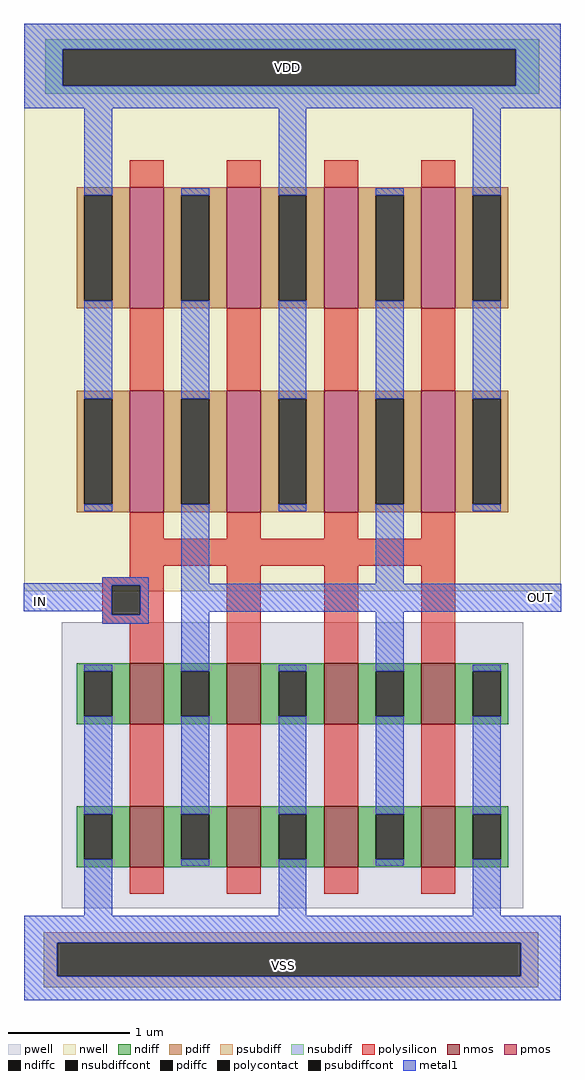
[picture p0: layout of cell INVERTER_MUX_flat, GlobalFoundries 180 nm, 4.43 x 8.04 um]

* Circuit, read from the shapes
.subckt INVERTER_MUX_flat VDD VSS IN OUT
XM1 OUT IN VSS VSS nfet_03v3 w=0.5u l=0.28u m=8
XM2 OUT IN VDD VDD pfet_03v3 w=1u l=0.28u m=8
.ends

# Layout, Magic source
magic
tech gf180mcuC
magscale 1 10
<< nwell >>
rect 0 0 884 935
<< pwell >>
rect 62 -523 822 -51
<< nmos >>
rect 174 -219 230 -119
rect 334 -219 390 -119
rect 494 -219 550 -119
rect 654 -219 710 -119
rect 174 -455 230 -355
rect 334 -455 390 -355
rect 494 -455 550 -355
rect 654 -455 710 -355
<< pmos >>
rect 174 466 230 666
rect 334 466 390 666
rect 494 466 550 666
rect 654 466 710 666
rect 174 130 230 330
rect 334 130 390 330
rect 494 130 550 330
rect 654 130 710 330
<< ndiff >>
rect 86 -132 174 -119
rect 86 -206 99 -132
rect 145 -206 174 -132
rect 86 -219 174 -206
rect 230 -132 334 -119
rect 230 -206 259 -132
rect 305 -206 334 -132
rect 230 -219 334 -206
rect 390 -132 494 -119
rect 390 -206 419 -132
rect 465 -206 494 -132
rect 390 -219 494 -206
rect 550 -132 654 -119
rect 550 -206 579 -132
rect 625 -206 654 -132
rect 550 -219 654 -206
rect 710 -132 798 -119
rect 710 -206 739 -132
rect 785 -206 798 -132
rect 710 -219 798 -206
rect 86 -368 174 -355
rect 86 -442 99 -368
rect 145 -442 174 -368
rect 86 -455 174 -442
rect 230 -368 334 -355
rect 230 -442 259 -368
rect 305 -442 334 -368
rect 230 -455 334 -442
rect 390 -368 494 -355
rect 390 -442 419 -368
rect 465 -442 494 -368
rect 390 -455 494 -442
rect 550 -368 654 -355
rect 550 -442 579 -368
rect 625 -442 654 -368
rect 550 -455 654 -442
rect 710 -368 798 -355
rect 710 -442 739 -368
rect 785 -442 798 -368
rect 710 -455 798 -442
<< pdiff >>
rect 86 653 174 666
rect 86 479 99 653
rect 145 479 174 653
rect 86 466 174 479
rect 230 653 334 666
rect 230 479 259 653
rect 305 479 334 653
rect 230 466 334 479
rect 390 653 494 666
rect 390 479 419 653
rect 465 479 494 653
rect 390 466 494 479
rect 550 653 654 666
rect 550 479 579 653
rect 625 479 654 653
rect 550 466 654 479
rect 710 653 798 666
rect 710 479 739 653
rect 785 479 798 653
rect 710 466 798 479
rect 86 317 174 330
rect 86 143 99 317
rect 145 143 174 317
rect 86 130 174 143
rect 230 317 334 330
rect 230 143 259 317
rect 305 143 334 317
rect 230 130 334 143
rect 390 317 494 330
rect 390 143 419 317
rect 465 143 494 317
rect 390 130 494 143
rect 550 317 654 330
rect 550 143 579 317
rect 625 143 654 317
rect 550 130 654 143
rect 710 317 798 330
rect 710 143 739 317
rect 785 143 798 317
rect 710 130 798 143
<< ndiffc >>
rect 99 -206 145 -132
rect 259 -206 305 -132
rect 419 -206 465 -132
rect 579 -206 625 -132
rect 739 -206 785 -132
rect 99 -442 145 -368
rect 259 -442 305 -368
rect 419 -442 465 -368
rect 579 -442 625 -368
rect 739 -442 785 -368
<< pdiffc >>
rect 99 479 145 653
rect 259 479 305 653
rect 419 479 465 653
rect 579 479 625 653
rect 739 479 785 653
rect 99 143 145 317
rect 259 143 305 317
rect 419 143 465 317
rect 579 143 625 317
rect 739 143 785 317
<< psubdiff >>
rect 32 -580 847 -562
rect 32 -635 54 -580
rect 818 -635 847 -580
rect 32 -653 847 -635
<< nsubdiff >>
rect 34 893 849 910
rect 34 833 63 893
rect 810 833 849 893
rect 34 820 849 833
<< psubdiffcont >>
rect 54 -635 818 -580
<< nsubdiffcont >>
rect 63 833 810 893
<< polysilicon >>
rect 174 666 230 710
rect 334 666 390 710
rect 494 666 550 710
rect 654 666 710 710
rect 174 330 230 466
rect 334 330 390 466
rect 494 330 550 466
rect 654 330 710 466
rect 174 86 230 130
rect 334 86 390 130
rect 494 86 550 130
rect 654 86 710 130
rect 174 42 710 86
rect 174 23 230 42
rect 128 10 230 23
rect 128 -39 144 10
rect 191 -39 230 10
rect 128 -54 230 -39
rect 174 -119 230 -54
rect 334 -119 390 42
rect 494 -119 550 42
rect 654 -119 710 42
rect 174 -355 230 -219
rect 334 -355 390 -219
rect 494 -355 550 -219
rect 654 -355 710 -219
rect 174 -499 230 -455
rect 334 -499 390 -455
rect 494 -499 550 -455
rect 654 -499 710 -455
<< polycontact >>
rect 144 -39 191 10
<< metal1 >>
rect 0 893 884 935
rect 0 833 63 893
rect 810 833 884 893
rect 0 796 884 833
rect 99 653 145 796
rect 99 317 145 479
rect 99 132 145 143
rect 259 653 305 664
rect 259 317 305 479
rect 128 13 205 23
rect -1 10 205 13
rect -1 -33 144 10
rect 128 -39 144 -33
rect 191 -39 205 10
rect 128 -54 205 -39
rect 259 12 305 143
rect 419 653 465 796
rect 419 317 465 479
rect 419 132 465 143
rect 579 653 625 664
rect 579 317 625 479
rect 579 12 625 143
rect 739 653 785 796
rect 739 317 785 479
rect 739 132 785 143
rect 259 -34 885 12
rect 99 -132 145 -121
rect 99 -368 145 -206
rect 99 -535 145 -442
rect 259 -132 305 -34
rect 259 -368 305 -206
rect 259 -453 305 -442
rect 419 -132 465 -121
rect 419 -368 465 -206
rect 419 -535 465 -442
rect 579 -132 625 -34
rect 579 -368 625 -206
rect 579 -453 625 -442
rect 739 -132 785 -121
rect 739 -368 785 -206
rect 739 -535 785 -442
rect 0 -580 884 -535
rect 0 -635 54 -580
rect 818 -635 884 -580
rect 0 -674 884 -635
<< labels >>
flabel nsubdiffcont 434 863 434 863 0 FreeSans 800 0 0 0 VDD
port 0 nsew
flabel psubdiffcont 425 -618 428 -615 0 FreeSans 800 0 0 0 VSS
port 1 nsew
flabel metal1 27 -17 27 -17 0 FreeSans 800 0 0 0 IN
port 3 nsew
flabel metal1 851 -11 851 -11 0 FreeSans 800 0 0 0 OUT
port 5 nsew
<< end >>
